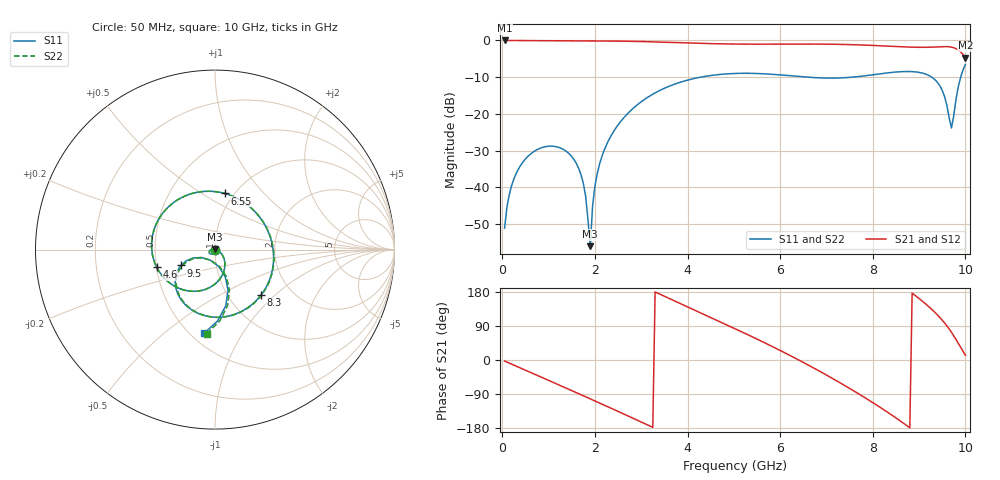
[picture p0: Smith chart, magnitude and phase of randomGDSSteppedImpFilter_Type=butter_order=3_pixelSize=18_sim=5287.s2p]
! freq	dB(S11)	phase(S11)	dB(S12)	phase(S12)
!  dB(S21)	phase(S21)	dB(S22)	phase(S22)
!S-par simulation data
#  GHz  S  DB  R 50
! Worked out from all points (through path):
!   200 points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, 50 MHz to 10 GHz, reference 50 ohm
!   highest |S21| = 0.00 dB at 50 MHz (marker M1); lowest = -4.7 dB at 10 GHz (marker M2)
!   group delay of S21, straight-line fit = 177 ps
!   lowest |S11| = -56.0 dB at 1.9 GHz (marker M3), VSWR 1.00, Z = 50.1 + j0.106 ohm
!   |S11| at or under -10 dB: start of sweep to 4.279 GHz; 6.591 GHz to 7.551 GHz (960.4 MHz wide, 13.6 % of centre); 9.273 GHz to 9.898 GHz (625 MHz wide, 6.52 % of centre)
!   |S22| runs from -55.9 to -6.5 dB; largest |S21 - S12| = 0
!   S11 on the Smith chart (normalised r, x): 50 MHz: 1.00, -0.01; 4.6 GHz: 0.50, -0.11; 6.55 GHz: 0.91, +0.63; 8.3 GHz: 1.41, -0.82; 9.5 GHz: 0.67, -0.12; 10 GHz: 0.58, -0.69
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0.05  -51.05 -84.2  -0.00 -2.7  -0.00 -2.7  -51.05 -84.2
0.25  -37.69 -102.2  -0.02 -13.5  -0.02 -13.5  -37.69 -102.2
0.75  -29.73 -131.2  -0.06 -40.4  -0.06 -40.4  -29.73 -131.2
1.4  -30.35 -167.7  -0.09 -75.3  -0.09 -75.3  -30.35 -167.8
1.75  -38.89 169.1  -0.11 -94.3  -0.11 -94.3  -38.88 169.0
1.9  -55.99 41.9  -0.12 -102.5  -0.12 -102.5  -55.89 42.9
1.95  -45.01 -2.6  -0.12 -105.3  -0.12 -105.3  -45.02 -2.2
2  -39.67 -11.5  -0.12 -108.0  -0.12 -108.0  -39.68 -11.3
2.25  -28.39 -30.4  -0.15 -121.8  -0.15 -121.8  -28.40 -30.3
3.4  -13.62 -96.2  -0.44 173.9  -0.44 173.9  -13.62 -96.1
4.6  -9.39 -163.3  -0.89 106.8  -0.89 106.8  -9.39 -163.1
5.05  -8.98 171.3  -0.99 81.3  -0.99 81.3  -8.98 171.6
5.9  -9.28 121.2  -1.01 31.3  -1.01 31.3  -9.28 121.8
6.55  -9.96 80.1  -0.98 -9.6  -0.98 -9.6  -9.96 81.1
6.7  -10.09 70.3  -0.99 -19.5  -0.99 -19.5  -10.09 71.4
7.55  -10.00 11.7  -1.15 -78.6  -1.15 -78.6  -9.99 13.4
8.3  -8.86 -44.9  -1.53 -136.2  -1.53 -136.2  -8.84 -42.8
8.35  -8.78 -48.9  -1.56 -140.3  -1.56 -140.3  -8.76 -46.8
9  -8.70 -105.0  -1.87 162.3  -1.87 162.3  -8.68 -103.0
9.5  -13.59 -155.1  -1.70 105.1  -1.70 105.1  -13.58 -153.3
9.7  -23.83 -114.5  -1.82 73.0  -1.82 73.0  -23.90 -112.5
10  -6.55 -97.4  -4.69 12.4  -4.69 12.4  -6.55 -95.6
